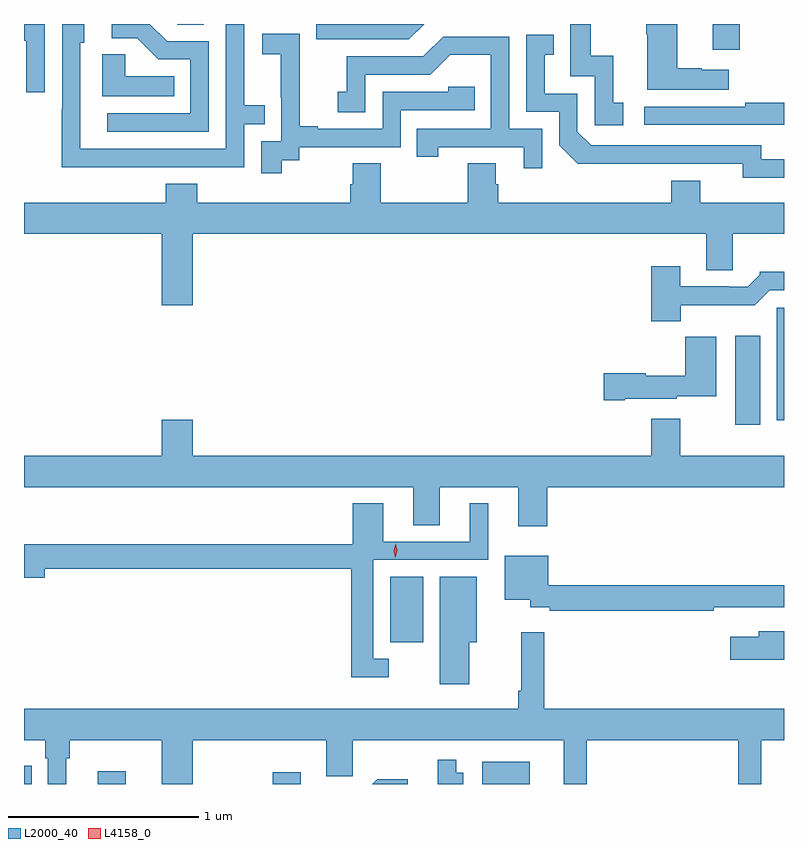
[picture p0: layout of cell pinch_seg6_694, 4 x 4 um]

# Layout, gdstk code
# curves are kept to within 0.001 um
import gdstk
lib = gdstk.Library(unit=1e-6, precision=1e-09)
def R(c, l, rs):  # rectangles x0, y0, x1, y1
    for r in rs: c.add(gdstk.rectangle(r[:2], r[2:], *l))
def P(c, l, *ps):  # polygons
    for p in ps: c.add(gdstk.Polygon(p, *l))
L2000_40 = (2000, 40)
L4158_0 = (4158, 0)

pinch_seg6_694 = lib.new_cell('pinch_seg6_694')
R(pinch_seg6_694, L2000_40, [(392.055,953.765,392.096,953.862), (392.444,953.765,392.59,953.833), (393.364,953.765,393.511,953.827), (394.466,953.765,394.717,953.881), (393.983,954.512,394.156,954.856), (395.798,955.656,395.929,956.125), (396.017,955.68,396.055,956.271), (395.681,957.63,395.821,957.765), (392.862,957.76,393.001,957.765)])
P(pinch_seg6_694, L2000_40, [(392.163,957.765),(392.055,957.765),(392.055,957.678),(392.067,957.678),(392.067,957.405),(392.163,957.405)],
  [(393.027,957.675),(392.808,957.675),(392.718,957.765),(392.517,957.765),(392.517,957.69),(392.651,957.69),(392.762,957.579),(392.931,957.579),(392.931,957.294),(392.493,957.294),(392.493,957.198),(393.027,957.198)],
  [(395.209,957.351),(395.156,957.351),(395.156,957.598),(395.038,957.598),(395.038,957.765),(394.929,957.765),(394.929,957.489),(395.058,957.489),(395.058,957.231),(395.209,957.231)],
  [(394.161,957.765),(393.594,957.765),(393.594,957.684),(394.08,957.684)],
  [(392.717,957.012),(393.213,957.012),(393.213,957.237),(393.323,957.237),(393.323,957.338),(393.213,957.338),(393.213,957.765),(393.117,957.765),(393.117,957.108),(392.352,957.108),(392.352,957.666),(392.371,957.666),(392.371,957.765),(392.256,957.765),(392.256,957.317),(392.254,957.317),(392.254,957.011),(392.717,957.011)],
  [(395.764,957.523),(395.621,957.523),(395.621,957.533),(395.494,957.533),(395.494,957.765),(395.329,957.765),(395.329,957.71),(395.336,957.71),(395.336,957.419),(395.764,957.419)],
  [(393.412,957.049),(393.504,957.049),(393.504,957.117),(394.038,957.117),(394.038,957.312),(394.427,957.312),(394.427,957.435),(394.287,957.435),(394.287,957.408),(393.942,957.408),(393.942,957.213),(393.601,957.213),(393.601,957.226),(393.506,957.226),(393.506,957.509),(393.507,957.509),(393.507,957.715),(393.309,957.715),(393.309,957.605),(393.407,957.605),(393.407,957.377),(393.408,957.377),(393.408,957.147),(393.303,957.147),(393.303,956.979),(393.412,956.979)],
  [(396.055,957.054),(395.934,957.054),(395.934,957.126),(395.04,957.126),(394.968,957.198),(394.968,957.399),(394.795,957.399),(394.795,957.603),(394.844,957.603),(394.844,957.709),(394.698,957.709),(394.698,957.303),(394.872,957.303),(394.872,957.126),(394.97,957.029),(395.838,957.03),(395.838,956.957),(396.055,956.957)],
  [(394.782,957.213),(394.608,957.213),(394.608,957.699),(394.262,957.699),(394.157,957.594),(393.754,957.594),(393.754,957.409),(393.705,957.409),(393.705,957.3),(393.852,957.3),(393.852,957.498),(394.194,957.498),(394.298,957.602),(394.512,957.602),(394.512,957.213),(394.123,957.213),(394.123,957.066),(394.234,957.066),(394.234,957.117),(394.685,957.117),(394.685,957.006),(394.782,957.006)],
  [(392.846,957.49),(392.589,957.49),(392.589,957.605),(392.468,957.605),(392.468,957.386),(392.846,957.386)],
  [(396.055,957.35),(395.851,957.35),(395.851,957.33),(395.319,957.33),(395.319,957.234),(396.055,957.234)],
  [(392.944,956.66),(395.645,956.66),(395.645,956.47),(395.785,956.47),(395.785,956.66),(396.055,956.66),(396.055,956.824),(395.614,956.824),(395.614,956.941),(395.462,956.941),(395.462,956.824),(394.55,956.824),(394.55,956.922),(394.537,956.922),(394.537,957.032),(394.39,957.032),(394.39,956.824),(393.933,956.824),(393.933,957.032),(393.785,957.032),(393.785,956.922),(393.773,956.922),(393.773,956.824),(392.966,956.824),(392.966,956.923),(392.801,956.923),(392.801,956.824),(392.055,956.824),(392.055,956.66),(392.78,956.66),(392.78,956.286),(392.944,956.286)],
  [(395.512,956.286),(395.901,956.286),(395.979,956.364),(396.055,956.364),(396.055,956.461),(395.928,956.461),(395.928,956.446),(395.864,956.382),(395.765,956.382),(395.765,956.385),(395.509,956.385),(395.509,956.491),(395.357,956.491),(395.357,956.201),(395.512,956.201)],
  [(395.218,955.793),(395.49,955.793),(395.49,955.805),(395.698,955.805),(395.698,956.119),(395.536,956.119),(395.536,955.915),(395.328,955.915),(395.328,955.928),(395.106,955.928),(395.106,955.786),(395.218,955.786)],
  [(394.103,955.126),(394.243,955.126),(394.243,955.328),(394.655,955.328),(394.655,955.122),(394.808,955.122),(394.808,955.328),(396.055,955.328),(396.055,955.492),(395.509,955.492),(395.509,955.687),(395.357,955.687),(395.357,955.492),(392.944,955.492),(392.944,955.681),(392.78,955.681),(392.78,955.492),(392.055,955.492),(392.055,955.328),(394.103,955.328)],
  [(393.976,954.423),(393.894,954.423),(393.894,954.945),(394.498,954.945),(394.498,955.243),(394.4,955.243),(394.4,955.041),(393.946,955.041),(393.946,955.243),(393.785,955.243),(393.785,955.027),(392.055,955.027),(392.055,954.851),(392.164,954.851),(392.164,954.898),(393.778,954.898),(393.778,954.326),(393.976,954.326)],
  [(395.684,954.696),(396.055,954.696),(396.055,954.812),(394.815,954.812),(394.815,954.967),(394.586,954.967),(394.586,954.734),(394.719,954.734),(394.719,954.695),(394.822,954.695),(394.822,954.676),(395.684,954.676)],
  [(394.399,954.512),(394.438,954.512),(394.438,954.856),(394.244,954.856),(394.244,954.291),(394.399,954.291)],
  [(396.055,954.57),(395.921,954.57),(395.921,954.541),(395.772,954.541),(395.772,954.419),(396.055,954.419)],
  [(394.793,954.565),(394.672,954.565),(394.672,954.256),(394.657,954.256),(394.657,954.16),(392.055,954.16),(392.055,953.996),(392.168,953.996),(392.168,953.9),(392.181,953.9),(392.181,953.765),(392.278,953.765),(392.278,953.9),(392.297,953.9),(392.297,953.996),(392.78,953.996),(392.78,953.765),(392.944,953.765),(392.944,953.996),(393.647,953.996),(393.647,953.806),(393.786,953.806),(393.786,953.996),(394.895,953.996),(394.895,953.765),(395.017,953.765),(395.017,953.996),(395.814,953.996),(395.814,953.765),(395.935,953.765),(395.935,953.996),(396.055,953.996),(396.055,954.16),(394.793,954.16)],
  [(394.366,953.824),(394.33,953.824),(394.33,953.893),(394.233,953.893),(394.233,953.765),(394.366,953.765)],
  [(394.075,953.791),(393.913,953.791),(393.887,953.765),(394.075,953.765)])
P(pinch_seg6_694, L4158_0, [(394.008,954.957),(394,954.993),(394.011,955.029),(394.012,955.029),(394.012,955.029),(394.02,954.993),(394.009,954.957),(394.009,954.957)])

lib.write_gds('pinch_seg6_694.gds')
